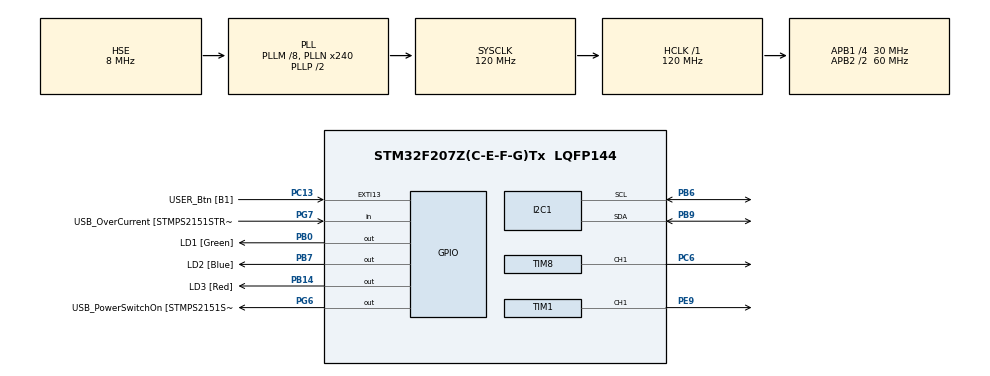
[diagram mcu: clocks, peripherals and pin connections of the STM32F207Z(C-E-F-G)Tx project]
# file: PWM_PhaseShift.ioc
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Mcu.Family=STM32F2
Mcu.Name=STM32F207Z(C-E-F-G)Tx
Mcu.Package=LQFP144
NVIC.PriorityGroup=NVIC_PRIORITYGROUP_4
PA1.GPIO_Label=RMII_REF_CLK [LAN8742A-CZ-TR_REFCLK0]
PA1.Signal=ETH_REF_CLK
PA10.GPIO_Label=USB_ID
PA10.Signal=USB_OTG_FS_ID
PA11.GPIO_Label=USB_DM
PA11.Signal=USB_OTG_FS_DM
PA12.GPIO_Label=USB_DP
PA12.Signal=USB_OTG_FS_DP
PA13.GPIO_Label=TMS
PA13.Mode=Serial_Wire
PA13.Signal=SYS_JTMS-SWDIO
PA14.GPIO_Label=TCK
PA14.Mode=Serial_Wire
PA14.Signal=SYS_JTCK-SWCLK
PA2.GPIO_Label=RMII_MDIO [LAN8742A-CZ-TR_MDIO]
PA2.Signal=ETH_MDIO
PA7.GPIO_Label=RMII_CRS_DV [LAN8742A-CZ-TR_CRS_DV]
PA7.Signal=ETH_CRS_DV
PA8.GPIO_Label=USB_SOF [TP1]
PA8.Signal=USB_OTG_FS_SOF
PA9.GPIO_Label=USB_VBUS
PA9.Signal=USB_OTG_FS_VBUS
PB0.GPIO_Label=LD1 [Green]
PB0.Signal=GPIO_Output
PB13.GPIO_Label=RMII_TXD1 [LAN8742A-CZ-TR_TXD1]
PB13.Signal=ETH_TXD1
PB14.GPIO_Label=LD3 [Red]
PB14.Signal=GPIO_Output
PB3.GPIO_Label=SWO
PB3.Signal=SYS_JTDO-SWO
PB6.Mode=I2C
PB6.Signal=I2C1_SCL
PB7.GPIO_Label=LD2 [Blue]
PB7.Signal=GPIO_Output
PB9.Mode=I2C
PB9.Signal=I2C1_SDA
PC1.GPIO_Label=RMII_MDC [LAN8742A-CZ-TR_MDC]
PC1.Signal=ETH_MDC
PC13.GPIO_Label=USER_Btn [B1]
PC13.Signal=GPXTI13
PC14-OSC32_IN.Mode=LSE-External-Oscillator
PC14-OSC32_IN.Signal=RCC_OSC32_IN
PC15-OSC32_OUT.Mode=LSE-External-Oscillator
PC15-OSC32_OUT.Signal=RCC_OSC32_OUT
PC4.GPIO_Label=RMII_RXD0 [LAN8742A-CZ-TR_RXD0]
PC4.Signal=ETH_RXD0
PC5.GPIO_Label=RMII_RXD1 [LAN8742A-CZ-TR_RXD1]
PC5.Signal=ETH_RXD1
PC6.Signal=S_TIM8_CH1
PD8.GPIO_Label=STLK_RX [STM32F103CBT6_PA2]
PD8.Signal=USART3_TX
PD9.GPIO_Label=STLK_TX [STM32F103CBT6_PA3]
PD9.Signal=USART3_RX
PE9.Signal=S_TIM1_CH1
PG11.GPIO_Label=RMII_TX_EN [LAN8742A-CZ-TR_TXEN]
PG11.Signal=ETH_TX_EN
PG13.GPIO_Label=RMII_TXD0 [LAN8742A-CZ-TR_TXD0]
PG13.Signal=ETH_TXD0
PG6.GPIO_Label=USB_PowerSwitchOn [STMPS2151STR_EN]
PG6.Signal=GPIO_Output
PG7.GPIO_Label=USB_OverCurrent [STMPS2151STR_FAULT]
PG7.Signal=GPIO_Input
PH0-OSC_IN.GPIO_Label=MCO [STM32F103CBT6_PA8]
PH0-OSC_IN.Mode=HSE-External-Clock-Source
PH0-OSC_IN.Signal=RCC_OSC_IN
PH1-OSC_OUT.Mode=HSE-External-Clock-Source
PH1-OSC_OUT.Signal=RCC_OSC_OUT
ProjectManager.HeapSize=0x200
ProjectManager.StackSize=0x400
ProjectManager.TargetToolchain=STM32CubeIDE
RCC.48MHZClocksFreq_Value=26666666.666666668
RCC.AHBFreq_Value=120000000
RCC.APB1CLKDivider=RCC_HCLK_DIV4
RCC.APB1Freq_Value=30000000
RCC.APB1TimFreq_Value=60000000
RCC.APB2CLKDivider=RCC_HCLK_DIV2
RCC.APB2Freq_Value=60000000
RCC.APB2TimFreq_Value=120000000
RCC.CortexFreq_Value=120000000
RCC.HCLKFreq_Value=120000000
RCC.HSE_VALUE=8000000
RCC.HSI_VALUE=16000000
RCC.PLLM=8
RCC.PLLMUL=RCC_PLL_MUL9
RCC.PLLN=240
RCC.PLLQ=9
RCC.PLLSourceVirtual=RCC_PLLSOURCE_HSE
RCC.PRESCALERUSB=RCC_USBCLKSOURCE_PLL_DIV1_5
RCC.SYSCLKFreq_VALUE=120000000
RCC.SYSCLKSource=RCC_SYSCLKSOURCE_PLLCLK
RCC.SYSCLKSourceVirtual=RCC_SYSCLKSOURCE_PLLCLK
RCC.USBFreq_Value=48000000
RCC.VCOOutputFreq_Value=240000000
SH.S_TIM1_CH1.0=TIM1_CH1,PWM Generation1 CH1
SH.S_TIM8_CH1.0=TIM8_CH1,PWM Generation1 CH1
TIM1.Channel-Output\ Compare2\ No\ Output=TIM_CHANNEL_2
TIM1.Channel-PWM\ Generation1\ CH1=TIM_CHANNEL_1
TIM1.OCMode_2=TIM_OCMODE_ACTIVE
TIM1.Period=3000
TIM1.Pulse-Output\ Compare2\ No\ Output=1500
TIM1.Pulse-PWM\ Generation1\ CH1=1500
TIM1.TIM_MasterOutputTrigger=TIM_TRGO_OC2REF
TIM8.Channel-PWM\ Generation1\ CH1=TIM_CHANNEL_1
TIM8.Period=3000
TIM8.Pulse-PWM\ Generation1\ CH1=3000
VP_TIM1_VS_ClockSourceINT.Mode=Internal
VP_TIM1_VS_no_output2.Mode=Output Compare2 No Output
VP_TIM8_VS_ClockSourceINT.Mode=Internal
VP_TIM8_VS_ClockSourceITR.Mode=TriggerSource_ITR0
VP_TIM8_VS_ControllerModeTrigger.Mode=Trigger Mode
board=NUCLEO-F207ZG

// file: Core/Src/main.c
/* USER CODE BEGIN Header */
/**
  ******************************************************************************
  * @file           : main.c
  * @brief          : Main program body
  ******************************************************************************
  * @attention
  *
  * Copyright (c) 2026 STMicroelectronics.
  * All rights reserved.
  *
  * This software is licensed under terms that can be found in the LICENSE file
  * in the root directory of this software component.
  * If no LICENSE file comes with this software, it is provided AS-IS.
  *
  ******************************************************************************
  */
/* USER CODE END Header */
#include "main.h"

/* USER CODE BEGIN Includes */
#include "ADS1015_ADS1115.h"
#include "liquidcrystal_i2c.h"
/* USER CODE END Includes */

I2C_HandleTypeDef hi2c1;

TIM_HandleTypeDef htim1;
TIM_HandleTypeDef htim8;

void SystemClock_Config(void);
static void MX_GPIO_Init(void);
static void MX_TIM1_Init(void);
static void MX_TIM8_Init(void);
static void MX_I2C1_Init(void);

int main(void)
{

  /* USER CODE BEGIN 1 */
	int32_t Sweep_DC = 0;
  /* USER CODE END 1 */

  /* MCU Configuration--------------------------------------------------------*/

  /* Reset of all peripherals, Initializes the Flash interface and the Systick. */
  HAL_Init();

  /* Configure the system clock */
  SystemClock_Config();

  /* Initialize all configured peripherals */
  MX_GPIO_Init();
  MX_TIM1_Init();
  MX_TIM8_Init();
  MX_I2C1_Init();
  /* USER CODE BEGIN 2 */
  TIM1->CCR1 = 0;
  TIM8->CCR1 = 0;
  HAL_TIM_PWM_Start(&htim1, TIM_CHANNEL_1);
  HAL_TIM_OC_Start(&htim1, TIM_CHANNEL_2);
  HAL_TIM_PWM_Start(&htim8, TIM_CHANNEL_1);

  ADS1xx5_I2C i2c;
  int16_t adc1;

  int millivolt;
  char snum[7];
  char duty1Num[4];
  char duty2Num[4];

  ADS1015(&i2c, &hi2c1, ADS_ADDR_GND); // Or ADS1015(&i2c, &hi2c1, ADS_ADDR_GND);
  ADSsetGain(&i2c, GAIN_TWOTHIRDS);
  HD44780_Init(4);
  HD44780_Clear();
  /* USER CODE END 2 */

  /* Infinite loop */
  /* USER CODE BEGIN WHILE */
  while (1)
  {
	    HD44780_Clear();
	  	HD44780_SetCursor(0,0);
	    HD44780_PrintStr("Duty Cycle 1: ");
	  	HD44780_SetCursor(0,1);
	    HD44780_PrintStr("Duty Cycle 2: ");

	  while(Sweep_DC < 3000)
	  	      	{
	  	      	  TIM1->CCR1 = Sweep_DC;
	  	      	  TIM8->CCR1 = Sweep_DC;
	  	      	  Sweep_DC += 1;
	  	      	  itoa(Sweep_DC, duty1Num, 10);
	  	      	  HD44780_SetCursor(13,0);
	  	          HD44780_PrintStr(duty1Num);
	  	      	  HAL_Delay(20);
	  	      	}
	  	  while(Sweep_DC > 0)
	  	      	{
	  	      	  TIM1->CCR1 = Sweep_DC;
	  	      	  TIM8->CCR1 = Sweep_DC;
	  	      	  Sweep_DC -= 1;
	  	      	  itoa(Sweep_DC, duty2Num, 10);
	  	      	  HD44780_SetCursor(13,1);
	  	          HD44780_PrintStr(duty2Num);
	  	      	  HAL_Delay(20);
	  	      	}

	  	  adc1 = ADSreadADC_SingleEnded(&i2c, 1);
	  	  millivolt = adc1 * 4.096 * 1000 / 32768;
	  	  millivolt = millivolt - 0; // Calibrate at 100mV

	  	  itoa(millivolt, snum, 10);

	  	  //HD44780_Clear();
	  	  HD44780_SetCursor(0,3);
	  	  HD44780_PrintStr("ADC Reading:");
	  	  HD44780_SetCursor(13,3);
	  	  HD44780_PrintStr(snum);

	  	  HAL_Delay(100);
    /* USER CODE END WHILE */

  }
}

void SystemClock_Config(void)
{
  RCC_OscInitTypeDef RCC_OscInitStruct = {0};
  RCC_ClkInitTypeDef RCC_ClkInitStruct = {0};

  /** Initializes the RCC Oscillators according to the specified parameters
  * in the RCC_OscInitTypeDef structure.
  */
  RCC_OscInitStruct.OscillatorType = RCC_OSCILLATORTYPE_HSE;
  RCC_OscInitStruct.HSEState = RCC_HSE_BYPASS;
  RCC_OscInitStruct.PLL.PLLState = RCC_PLL_ON;
  RCC_OscInitStruct.PLL.PLLSource = RCC_PLLSOURCE_HSE;
  RCC_OscInitStruct.PLL.PLLM = 8;
  RCC_OscInitStruct.PLL.PLLN = 240;
  RCC_OscInitStruct.PLL.PLLP = RCC_PLLP_DIV2;
  RCC_OscInitStruct.PLL.PLLQ = 9;
  if (HAL_RCC_OscConfig(&RCC_OscInitStruct) != HAL_OK)
  {
    Error_Handler();
  }

  /** Initializes the CPU, AHB and APB buses clocks
  */
  RCC_ClkInitStruct.ClockType = RCC_CLOCKTYPE_HCLK|RCC_CLOCKTYPE_SYSCLK
                              |RCC_CLOCKTYPE_PCLK1|RCC_CLOCKTYPE_PCLK2;
  RCC_ClkInitStruct.SYSCLKSource = RCC_SYSCLKSOURCE_PLLCLK;
  RCC_ClkInitStruct.AHBCLKDivider = RCC_SYSCLK_DIV1;
  RCC_ClkInitStruct.APB1CLKDivider = RCC_HCLK_DIV4;
  RCC_ClkInitStruct.APB2CLKDivider = RCC_HCLK_DIV2;

  if (HAL_RCC_ClockConfig(&RCC_ClkInitStruct, FLASH_LATENCY_3) != HAL_OK)
  {
    Error_Handler();
  }
}

static void MX_I2C1_Init(void)
{

  hi2c1.Instance = I2C1;
  hi2c1.Init.ClockSpeed = 100000;
  hi2c1.Init.DutyCycle = I2C_DUTYCYCLE_2;
  hi2c1.Init.OwnAddress1 = 0;
  hi2c1.Init.AddressingMode = I2C_ADDRESSINGMODE_7BIT;
  hi2c1.Init.DualAddressMode = I2C_DUALADDRESS_DISABLE;
  hi2c1.Init.OwnAddress2 = 0;
  hi2c1.Init.GeneralCallMode = I2C_GENERALCALL_DISABLE;
  hi2c1.Init.NoStretchMode = I2C_NOSTRETCH_DISABLE;
  if (HAL_I2C_Init(&hi2c1) != HAL_OK)
  {
    Error_Handler();
  }

}

static void MX_TIM1_Init(void)
{

  TIM_ClockConfigTypeDef sClockSourceConfig = {0};
  TIM_MasterConfigTypeDef sMasterConfig = {0};
  TIM_OC_InitTypeDef sConfigOC = {0};
  TIM_BreakDeadTimeConfigTypeDef sBreakDeadTimeConfig = {0};

  htim1.Instance = TIM1;
  htim1.Init.Prescaler = 0;
  htim1.Init.CounterMode = TIM_COUNTERMODE_UP;
  htim1.Init.Period = 3000;
  htim1.Init.ClockDivision = TIM_CLOCKDIVISION_DIV1;
  htim1.Init.RepetitionCounter = 0;
  htim1.Init.AutoReloadPreload = TIM_AUTORELOAD_PRELOAD_DISABLE;
  if (HAL_TIM_Base_Init(&htim1) != HAL_OK)
  {
    Error_Handler();
  }
  sClockSourceConfig.ClockSource = TIM_CLOCKSOURCE_INTERNAL;
  if (HAL_TIM_ConfigClockSource(&htim1, &sClockSourceConfig) != HAL_OK)
  {
    Error_Handler();
  }
  if (HAL_TIM_PWM_Init(&htim1) != HAL_OK)
  {
    Error_Handler();
  }
  if (HAL_TIM_OC_Init(&htim1) != HAL_OK)
  {
    Error_Handler();
  }
  sMasterConfig.MasterOutputTrigger = TIM_TRGO_OC2REF;
  sMasterConfig.MasterSlaveMode = TIM_MASTERSLAVEMODE_DISABLE;
  if (HAL_TIMEx_MasterConfigSynchronization(&htim1, &sMasterConfig) != HAL_OK)
  {
    Error_Handler();
  }
  sConfigOC.OCMode = TIM_OCMODE_PWM1;
  sConfigOC.Pulse = 1500;
  sConfigOC.OCPolarity = TIM_OCPOLARITY_HIGH;
  sConfigOC.OCNPolarity = TIM_OCNPOLARITY_HIGH;
  sConfigOC.OCFastMode = TIM_OCFAST_DISABLE;
  sConfigOC.OCIdleState = TIM_OCIDLESTATE_RESET;
  sConfigOC.OCNIdleState = TIM_OCNIDLESTATE_RESET;
  if (HAL_TIM_PWM_ConfigChannel(&htim1, &sConfigOC, TIM_CHANNEL_1) != HAL_OK)
  {
    Error_Handler();
  }
  sConfigOC.OCMode = TIM_OCMODE_ACTIVE;
  if (HAL_TIM_OC_ConfigChannel(&htim1, &sConfigOC, TIM_CHANNEL_2) != HAL_OK)
  {
    Error_Handler();
  }
  sBreakDeadTimeConfig.OffStateRunMode = TIM_OSSR_DISABLE;
  sBreakDeadTimeConfig.OffStateIDLEMode = TIM_OSSI_DISABLE;
  sBreakDeadTimeConfig.LockLevel = TIM_LOCKLEVEL_OFF;
  sBreakDeadTimeConfig.DeadTime = 0;
  sBreakDeadTimeConfig.BreakState = TIM_BREAK_DISABLE;
  sBreakDeadTimeConfig.BreakPolarity = TIM_BREAKPOLARITY_HIGH;
  sBreakDeadTimeConfig.AutomaticOutput = TIM_AUTOMATICOUTPUT_DISABLE;
  if (HAL_TIMEx_ConfigBreakDeadTime(&htim1, &sBreakDeadTimeConfig) != HAL_OK)
  {
    Error_Handler();
  }
  HAL_TIM_MspPostInit(&htim1);

}

static void MX_TIM8_Init(void)
{

  TIM_ClockConfigTypeDef sClockSourceConfig = {0};
  TIM_SlaveConfigTypeDef sSlaveConfig = {0};
  TIM_MasterConfigTypeDef sMasterConfig = {0};
  TIM_OC_InitTypeDef sConfigOC = {0};
  TIM_BreakDeadTimeConfigTypeDef sBreakDeadTimeConfig = {0};

  htim8.Instance = TIM8;
  htim8.Init.Prescaler = 0;
  htim8.Init.CounterMode = TIM_COUNTERMODE_UP;
  htim8.Init.Period = 3000;
  htim8.Init.ClockDivision = TIM_CLOCKDIVISION_DIV1;
  htim8.Init.RepetitionCounter = 0;
  htim8.Init.AutoReloadPreload = TIM_AUTORELOAD_PRELOAD_DISABLE;
  if (HAL_TIM_Base_Init(&htim8) != HAL_OK)
  {
    Error_Handler();
  }
  sClockSourceConfig.ClockSource = TIM_CLOCKSOURCE_INTERNAL;
  if (HAL_TIM_ConfigClockSource(&htim8, &sClockSourceConfig) != HAL_OK)
  {
    Error_Handler();
  }
  if (HAL_TIM_PWM_Init(&htim8) != HAL_OK)
  {
    Error_Handler();
  }
  sSlaveConfig.SlaveMode = TIM_SLAVEMODE_TRIGGER;
  sSlaveConfig.InputTrigger = TIM_TS_ITR0;
  if (HAL_TIM_SlaveConfigSynchro(&htim8, &sSlaveConfig) != HAL_OK)
  {
    Error_Handler();
  }
  sMasterConfig.MasterOutputTrigger = TIM_TRGO_RESET;
  sMasterConfig.MasterSlaveMode = TIM_MASTERSLAVEMODE_DISABLE;
  if (HAL_TIMEx_MasterConfigSynchronization(&htim8, &sMasterConfig) != HAL_OK)
  {
    Error_Handler();
  }
  sConfigOC.OCMode = TIM_OCMODE_PWM1;
  sConfigOC.Pulse = 3000;
  sConfigOC.OCPolarity = TIM_OCPOLARITY_HIGH;
  sConfigOC.OCNPolarity = TIM_OCNPOLARITY_HIGH;
  sConfigOC.OCFastMode = TIM_OCFAST_DISABLE;
  sConfigOC.OCIdleState = TIM_OCIDLESTATE_RESET;
  sConfigOC.OCNIdleState = TIM_OCNIDLESTATE_RESET;
  if (HAL_TIM_PWM_ConfigChannel(&htim8, &sConfigOC, TIM_CHANNEL_1) != HAL_OK)
  {
    Error_Handler();
  }
  sBreakDeadTimeConfig.OffStateRunMode = TIM_OSSR_DISABLE;
  sBreakDeadTimeConfig.OffStateIDLEMode = TIM_OSSI_DISABLE;
  sBreakDeadTimeConfig.LockLevel = TIM_LOCKLEVEL_OFF;
  sBreakDeadTimeConfig.DeadTime = 0;
  sBreakDeadTimeConfig.BreakState = TIM_BREAK_DISABLE;
  sBreakDeadTimeConfig.BreakPolarity = TIM_BREAKPOLARITY_HIGH;
  sBreakDeadTimeConfig.AutomaticOutput = TIM_AUTOMATICOUTPUT_DISABLE;
  if (HAL_TIMEx_ConfigBreakDeadTime(&htim8, &sBreakDeadTimeConfig) != HAL_OK)
  {
    Error_Handler();
  }
  HAL_TIM_MspPostInit(&htim8);

}

static void MX_GPIO_Init(void)
{
  GPIO_InitTypeDef GPIO_InitStruct = {0};

  /* GPIO Ports Clock Enable */
  __HAL_RCC_GPIOC_CLK_ENABLE();
  __HAL_RCC_GPIOH_CLK_ENABLE();
  __HAL_RCC_GPIOA_CLK_ENABLE();
  __HAL_RCC_GPIOB_CLK_ENABLE();
  __HAL_RCC_GPIOE_CLK_ENABLE();
  __HAL_RCC_GPIOD_CLK_ENABLE();
  __HAL_RCC_GPIOG_CLK_ENABLE();

  /*Configure GPIO pin Output Level */
  HAL_GPIO_WritePin(GPIOB, LD1_Pin|LD3_Pin|LD2_Pin, GPIO_PIN_RESET);

  /*Configure GPIO pin Output Level */
  HAL_GPIO_WritePin(USB_PowerSwitchOn_GPIO_Port, USB_PowerSwitchOn_Pin, GPIO_PIN_RESET);

  /*Configure GPIO pin : USER_Btn_Pin */
  GPIO_InitStruct.Pin = USER_Btn_Pin;
  GPIO_InitStruct.Mode = GPIO_MODE_IT_RISING;
  GPIO_InitStruct.Pull = GPIO_NOPULL;
  HAL_GPIO_Init(USER_Btn_GPIO_Port, &GPIO_InitStruct);

  /*Configure GPIO pins : RMII_MDC_Pin RMII_RXD0_Pin RMII_RXD1_Pin */
  GPIO_InitStruct.Pin = RMII_MDC_Pin|RMII_RXD0_Pin|RMII_RXD1_Pin;
  GPIO_InitStruct.Mode = GPIO_MODE_AF_PP;
  GPIO_InitStruct.Pull = GPIO_NOPULL;
  GPIO_InitStruct.Speed = GPIO_SPEED_FREQ_VERY_HIGH;
  GPIO_InitStruct.Alternate = GPIO_AF11_ETH;
  HAL_GPIO_Init(GPIOC, &GPIO_InitStruct);

  /*Configure GPIO pins : RMII_REF_CLK_Pin RMII_MDIO_Pin RMII_CRS_DV_Pin */
  GPIO_InitStruct.Pin = RMII_REF_CLK_Pin|RMII_MDIO_Pin|RMII_CRS_DV_Pin;
  GPIO_InitStruct.Mode = GPIO_MODE_AF_PP;
  GPIO_InitStruct.Pull = GPIO_NOPULL;
  GPIO_InitStruct.Speed = GPIO_SPEED_FREQ_VERY_HIGH;
  GPIO_InitStruct.Alternate = GPIO_AF11_ETH;
  HAL_GPIO_Init(GPIOA, &GPIO_InitStruct);

  /*Configure GPIO pins : LD1_Pin LD3_Pin LD2_Pin */
  GPIO_InitStruct.Pin = LD1_Pin|LD3_Pin|LD2_Pin;
  GPIO_InitStruct.Mode = GPIO_MODE_OUTPUT_PP;
  GPIO_InitStruct.Pull = GPIO_NOPULL;
  GPIO_InitStruct.Speed = GPIO_SPEED_FREQ_LOW;
  HAL_GPIO_Init(GPIOB, &GPIO_InitStruct);

  /*Configure GPIO pin : RMII_TXD1_Pin */
  GPIO_InitStruct.Pin = RMII_TXD1_Pin;
  GPIO_InitStruct.Mode = GPIO_MODE_AF_PP;
  GPIO_InitStruct.Pull = GPIO_NOPULL;
  GPIO_InitStruct.Speed = GPIO_SPEED_FREQ_VERY_HIGH;
  GPIO_InitStruct.Alternate = GPIO_AF11_ETH;
  HAL_GPIO_Init(RMII_TXD1_GPIO_Port, &GPIO_InitStruct);

  /*Configure GPIO pins : STLK_RX_Pin STLK_TX_Pin */
  GPIO_InitStruct.Pin = STLK_RX_Pin|STLK_TX_Pin;
  GPIO_InitStruct.Mode = GPIO_MODE_AF_PP;
  GPIO_InitStruct.Pull = GPIO_NOPULL;
  GPIO_InitStruct.Speed = GPIO_SPEED_FREQ_VERY_HIGH;
  GPIO_InitStruct.Alternate = GPIO_AF7_USART3;
  HAL_GPIO_Init(GPIOD, &GPIO_InitStruct);

  /*Configure GPIO pin : USB_PowerSwitchOn_Pin */
  GPIO_InitStruct.Pin = USB_PowerSwitchOn_Pin;
  GPIO_InitStruct.Mode = GPIO_MODE_OUTPUT_PP;
  GPIO_InitStruct.Pull = GPIO_NOPULL;
  GPIO_InitStruct.Speed = GPIO_SPEED_FREQ_LOW;
  HAL_GPIO_Init(USB_PowerSwitchOn_GPIO_Port, &GPIO_InitStruct);

  /*Configure GPIO pin : USB_OverCurrent_Pin */
  GPIO_InitStruct.Pin = USB_OverCurrent_Pin;
  GPIO_InitStruct.Mode = GPIO_MODE_INPUT;
  GPIO_InitStruct.Pull = GPIO_NOPULL;
  HAL_GPIO_Init(USB_OverCurrent_GPIO_Port, &GPIO_InitStruct);

  /*Configure GPIO pins : USB_SOF_Pin USB_ID_Pin USB_DM_Pin USB_DP_Pin */
  GPIO_InitStruct.Pin = USB_SOF_Pin|USB_ID_Pin|USB_DM_Pin|USB_DP_Pin;
  GPIO_InitStruct.Mode = GPIO_MODE_AF_PP;
  GPIO_InitStruct.Pull = GPIO_NOPULL;
  GPIO_InitStruct.Speed = GPIO_SPEED_FREQ_VERY_HIGH;
  GPIO_InitStruct.Alternate = GPIO_AF10_OTG_FS;
  HAL_GPIO_Init(GPIOA, &GPIO_InitStruct);

  /*Configure GPIO pin : USB_VBUS_Pin */
  GPIO_InitStruct.Pin = USB_VBUS_Pin;
  GPIO_InitStruct.Mode = GPIO_MODE_INPUT;
  GPIO_InitStruct.Pull = GPIO_NOPULL;
  HAL_GPIO_Init(USB_VBUS_GPIO_Port, &GPIO_InitStruct);

  /*Configure GPIO pins : RMII_TX_EN_Pin RMII_TXD0_Pin */
  GPIO_InitStruct.Pin = RMII_TX_EN_Pin|RMII_TXD0_Pin;
  GPIO_InitStruct.Mode = GPIO_MODE_AF_PP;
  GPIO_InitStruct.Pull = GPIO_NOPULL;
  GPIO_InitStruct.Speed = GPIO_SPEED_FREQ_VERY_HIGH;
  GPIO_InitStruct.Alternate = GPIO_AF11_ETH;
  HAL_GPIO_Init(GPIOG, &GPIO_InitStruct);

}

void Error_Handler(void)
{
  __disable_irq();
  while (1)
  {
  }
}
